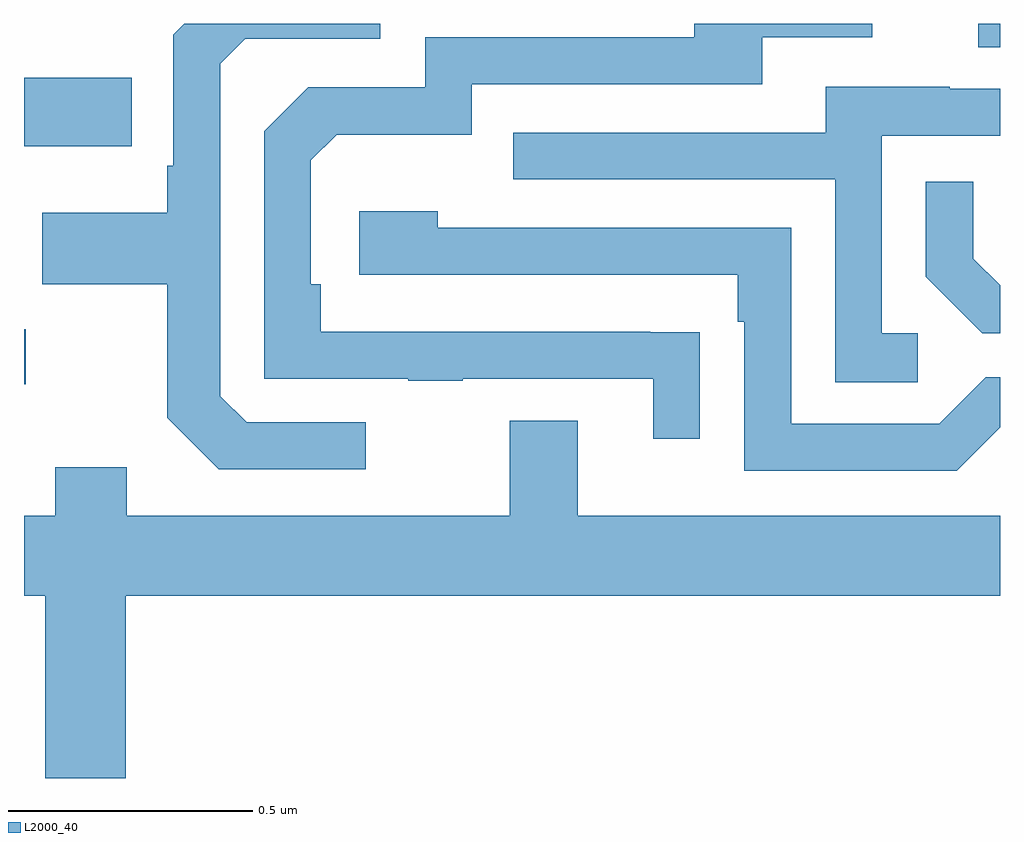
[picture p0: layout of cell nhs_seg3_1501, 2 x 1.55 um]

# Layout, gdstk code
import gdstk
lib = gdstk.Library(unit=1e-6, precision=1e-09)
def R(c, l, rs):  # rectangles x0, y0, x1, y1
    for r in rs: c.add(gdstk.rectangle(r[:2], r[2:], *l))
def P(c, l, *ps):  # polygons
    for p in ps: c.add(gdstk.Polygon(p, *l))
L2000_40 = (2000, 40)

nhs_seg3_1501 = lib.new_cell('nhs_seg3_1501')
R(nhs_seg3_1501, L2000_40, [(129,722.661,129.004,722.774), (129,723.149,129.221,723.289), (130.955,723.352,131,723.4)])
P(nhs_seg3_1501, L2000_40, [(130.385,722.768),(130.283,722.768),(130.283,722.769),(129.608,722.769),(129.608,722.866),(129.588,722.866),(129.588,723.12),(129.641,723.173),(129.918,723.173),(129.918,723.276),(130.513,723.276),(130.513,723.372),(130.738,723.372),(130.738,723.4),(130.373,723.4),(130.373,723.372),(129.822,723.372),(129.822,723.27),(129.582,723.27),(129.492,723.18),(129.492,722.673),(129.787,722.673),(129.787,722.668),(129.899,722.668),(129.899,722.673),(130.289,722.673),(130.289,722.55),(130.385,722.55)],
  [(129.7,722.583),(129.456,722.583),(129.402,722.637),(129.402,723.318),(129.453,723.369),(129.73,723.369),(129.73,723.4),(129.328,723.4),(129.306,723.378),(129.306,723.109),(129.294,723.109),(129.294,723.013),(129.037,723.013),(129.037,722.866),(129.294,722.866),(129.294,722.593),(129.399,722.487),(129.7,722.487)],
  [(130.831,722.766),(130.758,722.766),(130.758,723.171),(131,723.171),(131,723.267),(130.897,723.267),(130.897,723.271),(130.643,723.271),(130.643,723.177),(130.003,723.177),(130.003,723.081),(130.662,723.081),(130.662,722.665),(130.831,722.665)],
  [(131,722.864),(130.945,722.919),(130.945,723.076),(130.848,723.076),(130.848,722.882),(130.964,722.766),(131,722.766)],
  [(131,722.573),(131,722.676),(130.971,722.676),(130.875,722.58),(130.572,722.58),(130.572,722.982),(129.848,722.982),(129.848,723.016),(129.687,723.016),(129.687,722.886),(130.463,722.886),(130.463,722.789),(130.476,722.789),(130.476,722.484),(130.911,722.484)],
  [(131,722.392),(130.135,722.392),(130.135,722.587),(129.995,722.587),(129.995,722.392),(129.211,722.392),(129.211,722.491),(129.064,722.491),(129.064,722.392),(129,722.392),(129,722.228),(129.044,722.228),(129.044,721.854),(129.208,721.854),(129.208,722.228),(131,722.228)])

lib.write_gds('nhs_seg3_1501.gds')
